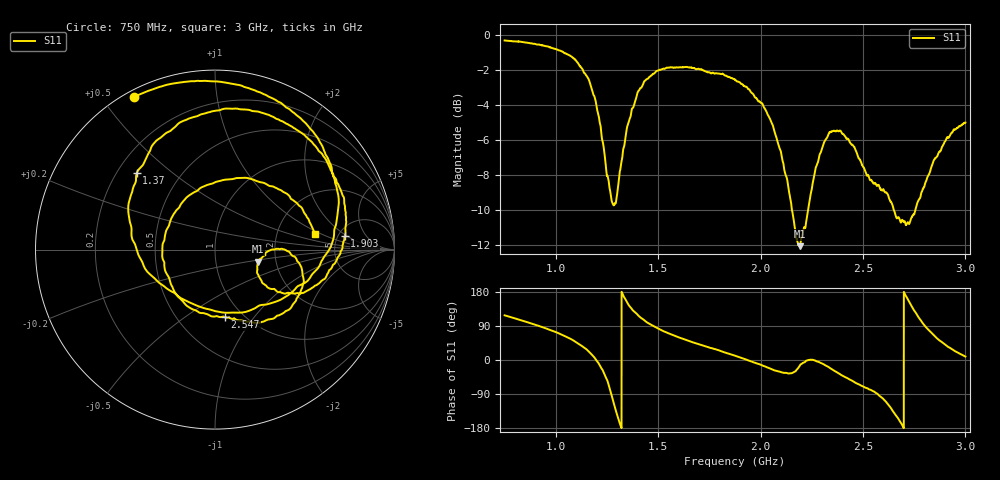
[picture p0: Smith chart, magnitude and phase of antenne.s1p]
# Hz S DB R 50
! CMT, SC5090, 24087134, 25.3.3/4
! Date: 14.12.2025 16:03:34
! Data: Format (Calibration Info)
! Freq	S11:dB/Ang(F1)
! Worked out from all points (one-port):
!   9001 points, 750 MHz to 3 GHz, reference 50 ohm
!   lowest |S11| = -12.1 dB at 2.191 GHz (marker M1), VSWR 1.66, Z = 80.6 - j11.5 ohm
!   |S11| at or under -10 dB: 2.153 GHz to 2.231 GHz (78.36 MHz wide, 3.57 % of centre); 2.65 GHz to 2.755 GHz (104.7 MHz wide, 3.87 % of centre)
!   S11 on the Smith chart (normalised r, x): 750 MHz: 0.03, +0.60; 1.37 GHz: 0.28, +0.38; 1.903 GHz: 5.73, +1.82; 2.547 GHz: 0.83, -0.73; 3 GHz: 3.32, +0.86
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7.5e8  -0.32 117.8
9.0875e8  -0.56 91.4
1.03125e9  -0.95 66.4
1.1155e9  -1.75 41.4
1.18925e9  -3.54 6.0
1.22325e9  -5.73 -22.3
1.2605e9  -8.57 -70.4
1.3125e9  -7.79 -167.6
1.33875e9  -5.98 161.2
1.37e9  -4.29 135.7
1.4555e9  -2.42 96.0
1.59375e9  -1.87 61.1
1.71675e9  -2.01 38.2
1.875e9  -2.57 11.2
1.90275e9  -2.77 5.9
2.05825e9  -5.12 -25.2
2.15625e9  -10.19 -33.7
2.191e9  -12.06 -15.5
2.254e9  -8.49 0.5
2.32725e9  -5.80 -17.0
2.4375e9  -6.17 -52.3
2.547e9  -8.39 -81.6
2.62475e9  -9.23 -119.1
2.71875e9  -10.71 159.9
2.7785e9  -9.32 107.2
2.83875e9  -7.40 69.5
2.91825e9  -5.87 33.8
3e9  -5.01 9.1
